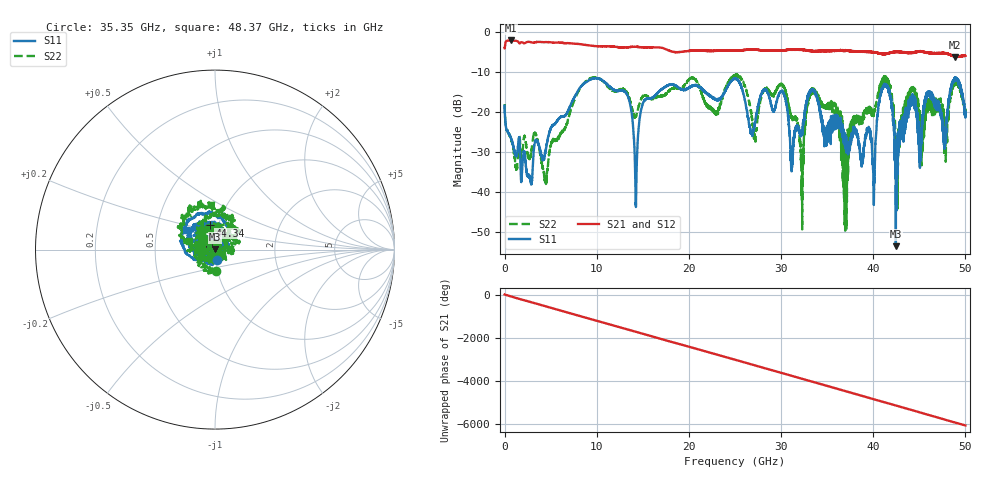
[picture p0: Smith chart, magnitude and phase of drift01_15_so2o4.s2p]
!Created with skrf (http://scikit-rf.org).
# Hz S RI R 50.0
!freq ReS11 ImS11 ReS21 ImS21 ReS12 ImS12 ReS22 ImS22
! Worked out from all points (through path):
!   10001 points, 300 kHz to 50 GHz, reference 50 ohm
!   highest |S21| = -2.00 dB at 710.3 MHz (marker M1); lowest = -6.1 dB at 48.88 GHz (marker M2)
!   group delay of S21, straight-line fit = 336 ps
!   lowest |S11| = -53.6 dB at 42.46 GHz (marker M3), VSWR 1.00, Z = 50.2 + j0.102 ohm
!   |S11| at or under -10 dB: start of sweep to end of sweep
!   |S22| runs from -49.8 to -10.6 dB; largest |S21 - S12| = 0.019
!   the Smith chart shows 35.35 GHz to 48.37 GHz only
!   S11 on the Smith chart (normalised r, x): 35.35 GHz: 1.02, -0.11; 44.34 GHz: 0.91, +0.25; 48.37 GHz: 0.71, +0.16
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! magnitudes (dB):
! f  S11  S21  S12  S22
! 300 kHz  -18.4  -4.0  -4.0  -18.0
! 710.3 MHz  -26.7  -2.0  -2.0  -26.7
! 4.435 GHz  -29.9  -2.4  -2.4  -37.0
! 8.335 GHz  -13.5  -3.0  -3.0  -13.5
! 13.16 GHz  -15.1  -3.7  -3.8  -14.7
! 14.25 GHz  -42.9  -3.6  -3.6  -21.1
! 16.67 GHz  -15.0  -3.7  -3.7  -15.9
! 25 GHz  -11.6  -4.5  -4.6  -11.0
! 27.14 GHz  -22.7  -4.3  -4.3  -26.0
! 30.2 GHz  -15.1  -4.5  -4.5  -13.2
! 32.23 GHz  -25.0  -4.4  -4.4  -38.0
! 33.34 GHz  -14.4  -4.7  -4.6  -14.7
! 35.35 GHz  -24.9  -4.7  -4.6  -18.4
! 37.03 GHz  -26.3  -4.5  -4.6  -35.0
! 40.06 GHz  -42.4  -4.9  -5.0  -20.7
! 41.67 GHz  -14.3  -5.1  -5.2  -12.6
! 42.46 GHz  -53.6  -4.8  -4.8  -33.3
! 44.34 GHz  -17.2  -5.0  -5.0  -14.2
! 45.32 GHz  -22.7  -4.8  -4.8  -24.4
! 48.37 GHz  -14.2  -5.6  -5.6  -16.3
! 48.88 GHz  -11.7  -6.1  -6.0  -12.5
! 50 GHz  -20.1  -5.9  -5.9  -19.5
